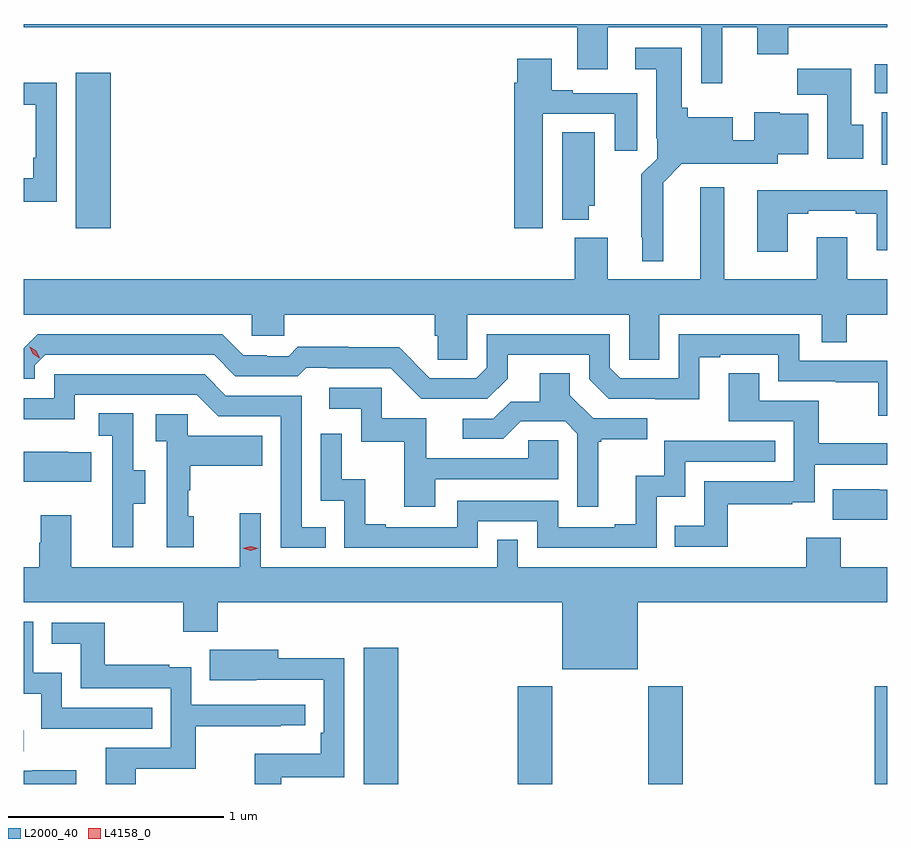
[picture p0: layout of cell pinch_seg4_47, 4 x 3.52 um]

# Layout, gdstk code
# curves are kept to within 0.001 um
import gdstk
lib = gdstk.Library(unit=1e-6, precision=1e-09)
def R(c, l, rs):  # rectangles x0, y0, x1, y1
    for r in rs: c.add(gdstk.rectangle(r[:2], r[2:], *l))
def P(c, l, *ps):  # polygons
    for p in ps: c.add(gdstk.Polygon(p, *l))
L2000_40 = (2000, 40)
L4158_0 = (4158, 0)

pinch_seg4_47 = lib.new_cell('pinch_seg4_47')
R(pinch_seg4_47, L2000_40, [(1120.595,829.279,1120.756,829.909), (1121.309,829.279,1121.469,829.732), (1121.914,829.279,1122.074,829.732), (1122.962,829.279,1123.021,829.731), (1119.021,829.431,1119.022,829.528), (1119.263,831.852,1119.424,832.573), (1122.995,832.148,1123.021,832.39), (1122.963,832.478,1123.021,832.612)])
P(pinch_seg4_47, L2000_40, [(1122.256,832.784),(1122.419,832.784),(1122.419,832.66),(1122.563,832.66),(1122.563,832.784),(1123.021,832.784),(1123.021,832.799),(1119.021,832.799),(1119.021,832.784),(1121.585,832.784),(1121.585,832.59),(1121.725,832.59),(1121.725,832.784),(1122.159,832.784),(1122.159,832.524),(1122.256,832.524)],
  [(1121.983,832.064),(1122.069,832.151),(1122.514,832.152),(1122.514,832.196),(1122.655,832.196),(1122.655,832.384),(1122.522,832.384),(1122.522,832.39),(1122.404,832.39),(1122.404,832.261),(1122.304,832.261),(1122.304,832.366),(1122.096,832.366),(1122.096,832.41),(1122.07,832.41),(1122.07,832.69),(1121.853,832.69),(1121.853,832.589),(1121.951,832.589),(1121.951,832.27),(1121.955,832.27),(1121.955,832.176),(1121.881,832.102),(1121.881,831.811),(1121.885,831.811),(1121.885,831.701),(1121.983,831.701)],
  [(1121.425,832.383),(1121.759,832.383),(1121.759,832.212),(1121.863,832.212),(1121.863,832.479),(1121.563,832.479),(1121.563,832.492),(1121.467,832.492),(1121.467,832.639),(1121.306,832.639),(1121.306,832.526),(1121.294,832.526),(1121.294,831.852),(1121.425,831.852)],
  [(1122.91,832.332),(1122.853,832.332),(1122.853,832.591),(1122.604,832.591),(1122.604,832.472),(1122.743,832.472),(1122.743,832.176),(1122.91,832.176)],
  [(1119.174,832.526),(1119.021,832.526),(1119.021,832.425),(1119.078,832.425),(1119.078,832.18),(1119.065,832.18),(1119.065,832.084),(1119.021,832.084),(1119.021,831.975),(1119.174,831.975)],
  [(1121.638,831.957),(1121.665,831.957),(1121.665,832.298),(1121.516,832.298),(1121.516,831.893),(1121.638,831.893)],
  [(1121.076,831.452),(1121.826,831.452),(1121.826,831.244),(1121.965,831.244),(1121.965,831.452),(1122.717,831.452),(1122.717,831.325),(1122.833,831.325),(1122.833,831.452),(1123.021,831.452),(1123.021,831.616),(1122.835,831.616),(1122.835,831.811),(1122.695,831.811),(1122.695,831.616),(1122.265,831.616),(1122.265,832.042),(1122.155,832.042),(1122.155,831.616),(1121.725,831.616),(1121.725,831.808),(1121.573,831.808),(1121.573,831.616),(1119.021,831.616),(1119.021,831.452),(1120.077,831.452),(1120.077,831.354),(1120.227,831.354),(1120.227,831.452),(1120.925,831.452),(1120.925,831.354),(1120.939,831.354),(1120.939,831.244),(1121.076,831.244)],
  [(1122.559,831.921),(1122.655,831.921),(1122.655,831.933),(1122.875,831.933),(1122.875,831.921),(1122.971,831.921),(1122.971,831.752),(1123.021,831.752),(1123.021,832.03),(1122.419,832.03),(1122.419,831.744),(1122.559,831.744)],
  [(1123.021,831.24),(1122.612,831.24),(1122.612,831.363),(1122.054,831.363),(1122.054,831.159),(1121.784,831.159),(1121.736,831.207),(1121.736,831.363),(1121.166,831.363),(1121.166,831.207),(1121.118,831.159),(1120.902,831.159),(1120.76,831.301),(1120.524,831.301),(1120.524,831.304),(1120.291,831.304),(1120.249,831.261),(1120.146,831.261),(1120.146,831.264),(1120.039,831.264),(1119.94,831.363),(1119.087,831.363),(1119.021,831.297),(1119.021,831.156),(1119.072,831.156),(1119.072,831.219),(1119.12,831.267),(1119.903,831.267),(1120.002,831.168),(1120.291,831.168),(1120.33,831.207),(1120.429,831.207),(1120.429,831.204),(1120.722,831.204),(1120.863,831.063),(1121.169,831.063),(1121.263,831.157),(1121.263,831.267),(1121.64,831.267),(1121.64,831.153),(1121.73,831.063),(1122.151,831.062),(1122.151,831.255),(1122.247,831.255),(1122.247,831.267),(1122.516,831.267),(1122.516,831.144),(1122.781,831.144),(1122.781,831.139),(1122.978,831.139),(1122.978,830.984),(1123.021,830.984)],
  [(1121.683,830.865),(1121.695,830.865),(1121.695,830.876),(1121.908,830.876),(1121.908,830.973),(1121.658,830.973),(1121.551,831.08),(1121.551,831.182),(1121.411,831.182),(1121.411,831.05),(1121.276,831.05),(1121.196,830.97),(1121.055,830.97),(1121.055,830.877),(1121.242,830.877),(1121.323,830.958),(1121.529,830.958),(1121.586,830.901),(1121.586,830.562),(1121.683,830.562)],
  [(1122.283,830.574),(1122.581,830.574),(1122.581,830.585),(1122.684,830.585),(1122.684,830.757),(1123.021,830.757),(1123.021,830.858),(1122.704,830.858),(1122.704,831.054),(1122.427,831.054),(1122.427,831.182),(1122.287,831.182),(1122.287,830.958),(1122.588,830.958),(1122.588,830.682),(1122.172,830.682),(1122.172,830.476),(1122.037,830.476),(1122.037,830.379),(1122.283,830.379)],
  [(1120.421,830.469),(1120.308,830.469),(1120.308,831.078),(1119.958,831.078),(1119.859,831.177),(1119.162,831.177),(1119.162,831.066),(1119.021,831.066),(1119.021,830.969),(1119.258,830.969),(1119.258,831.081),(1119.822,831.081),(1119.921,830.982),(1120.212,830.982),(1120.212,830.373),(1120.421,830.373)],
  [(1120.927,830.691),(1121.496,830.691),(1121.496,830.871),(1121.359,830.871),(1121.359,830.787),(1120.885,830.787),(1120.885,830.973),(1120.68,830.973),(1120.68,831.114),(1120.437,831.114),(1120.437,831.018),(1120.584,831.018),(1120.584,830.865),(1120.783,830.865),(1120.783,830.562),(1120.927,830.562)],
  [(1119.529,830.578),(1119.583,830.578),(1119.583,830.733),(1119.528,830.733),(1119.528,830.996),(1119.369,830.996),(1119.369,830.893),(1119.432,830.893),(1119.432,830.589),(1119.431,830.589),(1119.431,830.376),(1119.529,830.376)],
  [(1119.808,830.52),(1119.783,830.52),(1119.783,830.639),(1119.793,830.639),(1119.793,830.753),(1120.127,830.753),(1120.127,830.893),(1119.78,830.893),(1119.78,830.991),(1119.633,830.991),(1119.633,830.867),(1119.684,830.867),(1119.684,830.376),(1119.808,830.376)],
  [(1121.124,830.496),(1121.4,830.496),(1121.4,830.373),(1121.952,830.373),(1121.952,830.609),(1122.084,830.609),(1122.084,830.772),(1122.503,830.772),(1122.503,830.868),(1121.988,830.868),(1121.988,830.707),(1121.855,830.707),(1121.855,830.482),(1121.759,830.482),(1121.759,830.469),(1121.496,830.469),(1121.496,830.592),(1121.028,830.592),(1121.028,830.469),(1120.699,830.469),(1120.699,830.482),(1120.604,830.482),(1120.604,830.69),(1120.494,830.69),(1120.494,830.902),(1120.398,830.902),(1120.398,830.592),(1120.506,830.592),(1120.506,830.373),(1121.124,830.373)],
  [(1119.335,830.815),(1119.227,830.815),(1119.227,830.818),(1119.021,830.818),(1119.021,830.678),(1119.335,830.678)],
  [(1123.021,830.643),(1122.983,830.643),(1122.983,830.644),(1122.769,830.644),(1122.769,830.504),(1123.021,830.504)],
  [(1123.021,830.284),(1122.806,830.284),(1122.806,830.419),(1122.646,830.419),(1122.646,830.284),(1121.31,830.284),(1121.31,830.411),(1121.214,830.411),(1121.214,830.284),(1120.119,830.284),(1120.119,830.533),(1120.022,830.533),(1120.022,830.284),(1119.241,830.284),(1119.241,830.524),(1119.101,830.524),(1119.101,830.396),(1119.094,830.396),(1119.094,830.284),(1119.021,830.284),(1119.021,830.12),(1119.76,830.12),(1119.76,829.985),(1119.92,829.985),(1119.92,830.12),(1121.516,830.12),(1121.516,829.811),(1121.866,829.811),(1121.866,830.12),(1123.021,830.12)],
  [(1119.617,829.632),(1119.198,829.632),(1119.198,829.795),(1119.066,829.795),(1119.066,830.031),(1119.021,830.031),(1119.021,829.697),(1119.102,829.697),(1119.102,829.536),(1119.617,829.536)],
  [(1119.541,829.35),(1119.818,829.35),(1119.818,829.546),(1120.211,829.546),(1120.211,829.551),(1120.324,829.551),(1120.324,829.647),(1119.798,829.647),(1119.798,829.819),(1119.695,829.819),(1119.695,829.831),(1119.397,829.831),(1119.397,830.025),(1119.151,830.025),(1119.151,829.928),(1119.286,829.928),(1119.286,829.722),(1119.702,829.722),(1119.702,829.446),(1119.401,829.446),(1119.401,829.279),(1119.541,829.279)],
  [(1120.213,829.311),(1120.506,829.311),(1120.506,829.862),(1120.201,829.862),(1120.201,829.9),(1119.883,829.9),(1119.883,829.76),(1120.097,829.76),(1120.097,829.761),(1120.41,829.761),(1120.41,829.516),(1120.397,829.516),(1120.397,829.42),(1120.092,829.42),(1120.092,829.279),(1120.213,829.279)],
  [(1119.265,829.343),(1119.06,829.343),(1119.06,829.341),(1119.021,829.341),(1119.021,829.279),(1119.265,829.279)])
P(pinch_seg4_47, L4158_0, [(1119.095,831.252),(1119.064,831.272),(1119.048,831.304),(1119.048,831.304),(1119.048,831.304),(1119.079,831.285),(1119.096,831.253),(1119.096,831.252)],
  [(1120.072,830.36),(1120.036,830.37),(1120.036,830.37),(1120.036,830.37),(1120.072,830.38),(1120.107,830.37),(1120.107,830.37),(1120.107,830.37)])

lib.write_gds('pinch_seg4_47.gds')
